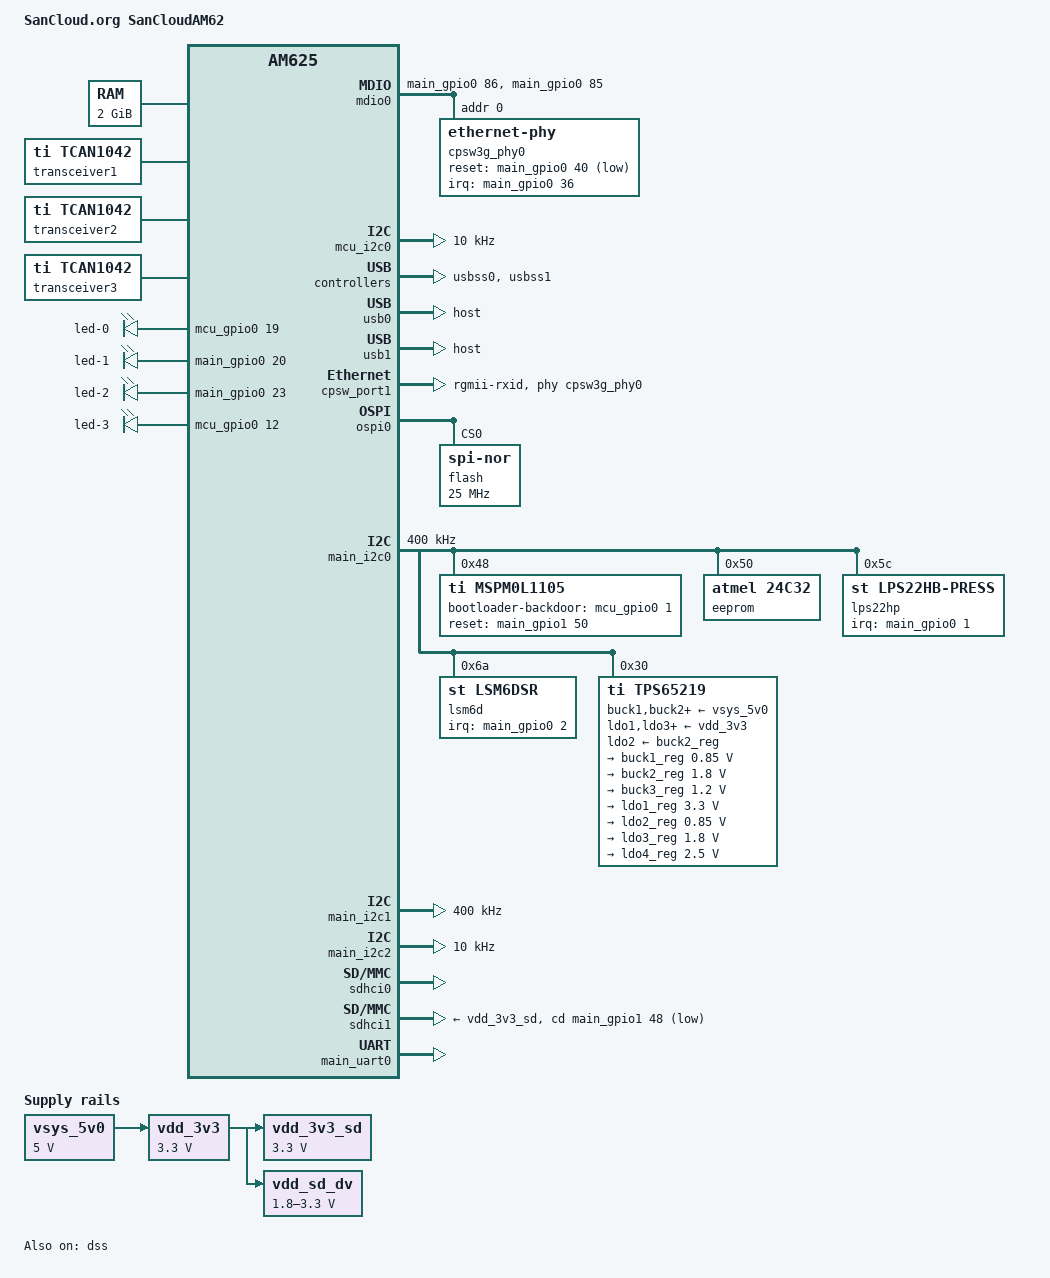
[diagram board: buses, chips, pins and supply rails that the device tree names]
// SPDX-License-Identifier: GPL-2.0
/*
 * https://beagleplay.org/
 *
 * Copyright (C) 2022-2023 Texas Instruments Incorporated - https://www.ti.com/
 * Copyright (C) 2022-2023 Robert Nelson, BeagleBoard.org Foundation
 */

/dts-v1/;

#include <dt-bindings/leds/common.h>
#include <dt-bindings/gpio/gpio.h>
#include <dt-bindings/input/input.h>
#include "k3-am625.dtsi"


/ {
	compatible = "sancloud,am625-sancloud", "ti,am625";
	model = "SanCloud.org SanCloudAM62";

	aliases {
		ethernet0 = &cpsw_port1;
		gpio0 = &main_gpio0;
		gpio1 = &main_gpio1;
		gpio2 = &mcu_gpio0;
		i2c0 = &main_i2c0;
		i2c1 = &main_i2c1;
		i2c2 = &main_i2c2;
		i2c3 = &main_i2c3;
		// i2c4 = &wkup_i2c0;
		// i2c5 = &mcu_i2c0;
		mdio-gpio0 = &mdio0;
		mmc0 = &sdhci0;
		mmc1 = &sdhci1;
		mmc2 = &sdhci2;
		rtc1 = &wkup_rtc0;
		serial0 = &wkup_uart0;
		serial1 = &mcu_uart0;
		serial2 = &main_uart0;
		serial3 = &main_uart5;
		serial4 = &main_uart6;
		//spi0 = &spi_gpio;
		//spi1 = &main_spi0;
		//spi2 = &main_spi2;
		usb0 = &usb0;
		usb1 = &usb1;
	};

	chosen {
		stdout-path = "serial2:115200n8";
		base_dtb = "k3-am625-sancloud.dts";
		base_dtb_timestamp = __TIMESTAMP__;
	};

	memory@80000000 {
		bootph-pre-ram;
		device_type = "memory";
		/* 2G RAM */
		reg = <0x00000000 0x80000000 0x00000000 0x80000000>;
	};

	reserved-memory {
		#address-cells = <2>;
		#size-cells = <2>;
		ranges;

		rtos_ipc_memory_region: ipc-memories@9c800000 {
			compatible = "shared-dma-pool";
			reg = <0x00 0x9c800000 0x00 0x00300000>;
			no-map;
		};

		mcu_m4fss_dma_memory_region: m4f-dma-memory@9cb00000 {
			compatible = "shared-dma-pool";
			reg = <0x00 0x9cb00000 0x00 0x100000>;
			no-map;
		};

		mcu_m4fss_memory_region: m4f-memory@9cc00000 {
			compatible = "shared-dma-pool";
			reg = <0x00 0x9cc00000 0x00 0xe00000>;
			no-map;
		};

		wkup_r5fss0_core0_dma_memory_region: r5f-dma-memory@9da00000 {
			compatible = "shared-dma-pool";
			reg = <0x00 0x9da00000 0x00 0x00100000>;
			no-map;
		};

		wkup_r5fss0_core0_memory_region: r5f-memory@9db00000 {
			compatible = "shared-dma-pool";
			reg = <0x00 0x9db00000 0x00 0x00c00000>;
			no-map;
		};

		lpm_ctx_ddr: lpm-memory@9e700000 {
			reg = <0x00 0x9e700000 0x00 0x80000>;
			alignment = <0x1000>;
		};

		secure_tfa_ddr: tfa@9e780000 {
			reg = <0x00 0x9e780000 0x00 0x80000>;
			alignment = <0x1000>;
			no-map;
		};

		secure_ddr: optee@9e800000 {
			reg = <0x00 0x9e800000 0x00 0x01800000>; /* for OP-TEE */
			alignment = <0x1000>;
			no-map;
		};
	};

	vsys_5v0: regulator-1 {
		bootph-all;
		compatible = "regulator-fixed";
		regulator-name = "vsys_5v0";
		regulator-min-microvolt = <5000000>;
		regulator-max-microvolt = <5000000>;
		regulator-always-on;
		regulator-boot-on;
	};

	vdd_3v3: regulator-2 {
		/* output of TLV62595DMQR-U12 */
		bootph-all;
		compatible = "regulator-fixed";
		regulator-name = "vdd_3v3";
		regulator-min-microvolt = <3300000>;
		regulator-max-microvolt = <3300000>;
		vin-supply = <&vsys_5v0>;
		regulator-always-on;
		regulator-boot-on;
	};

	vdd_3v3_sd: regulator-4 {
		bootph-all;
		compatible = "regulator-fixed";
		regulator-name = "vdd_3v3_sd";
		regulator-min-microvolt = <3300000>;
		regulator-max-microvolt = <3300000>;
		regulator-always-on;
		vin-supply = <&vdd_3v3>;
	};

	vdd_sd_dv: regulator-5 {
		bootph-all;
		compatible = "regulator-gpio";
		regulator-name = "sd_hs200_switch";
		pinctrl-names = "default";
		pinctrl-0 = <&vdd_sd_dv_pins_default>;
		regulator-min-microvolt = <1800000>;
		regulator-max-microvolt = <3300000>;
		regulator-boot-on;
		vin-supply = <&vdd_3v3>;
		gpios = <&main_gpio1 49 GPIO_ACTIVE_HIGH>;
		states = <1800000 0x0>,
			 <3300000 0x1>;
	};

	mdio0: bitbang-mdio {
		compatible = "virtual,mdio-gpio";
		pinctrl-names = "default";
		pinctrl-0 = <&mdio0_pins_default>;
		gpios = <&main_gpio0 86 GPIO_ACTIVE_HIGH>, /* MDC */
			<&main_gpio0 85 GPIO_ACTIVE_HIGH>; /* MDIO */
		#address-cells = <1>;
		#size-cells = <0>;

        cpsw3g_phy0: ethernet-phy@0 {
            reg = <0>;
			interrupt-parent = <&main_gpio0>;
			interrupts = <36 IRQ_TYPE_EDGE_FALLING>;
			reset-assert-us = <10000>;
			reset-deassert-us = <50000>;
			reset-gpios = <&main_gpio0 40 GPIO_ACTIVE_LOW>;
        };
	};

	transceiver1: can-phy0 {
		compatible = "ti,tcan1042";
		#phy-cells = <0>;
		max-bitrate = <5000000>;
	};

	transceiver2: can-phy1 {
		compatible = "ti,tcan1042";
		#phy-cells = <0>;
		max-bitrate = <5000000>;
	};

	transceiver3: can-phy2 {
		compatible = "ti,tcan1042";
		#phy-cells = <0>;
		max-bitrate = <5000000>;
	};

	leds {
		compatible = "gpio-leds";

		led-0 {
			bootph-all;
			gpios = <&mcu_gpio0 19 GPIO_ACTIVE_HIGH>;	//B9
			linux,default-trigger = "heartbeat";
			function = LED_FUNCTION_HEARTBEAT;
			default-state = "off";
		};

		led-1 {
			bootph-all;
			gpios = <&main_gpio0 20 GPIO_ACTIVE_HIGH>;	//A9
			linux,default-trigger = "disk-activity";
			function = LED_FUNCTION_DISK_ACTIVITY;
			default-state = "keep";
		};

		led-2 {
			bootph-all;
			gpios = <&main_gpio0 23 GPIO_ACTIVE_HIGH>;	//A12
			function = LED_FUNCTION_CPU;
		};

		led-3 {
			bootph-all;
			gpios = <&mcu_gpio0 12 GPIO_ACTIVE_HIGH>;	//A4
			function = LED_FUNCTION_LAN;
		};
	};
};

/*
 * CPU configuration 
 * Disable core2 and core3 for dual core devices
 * Disable Real Time Interrupt for core2 and core3 also
 */

&cluster0 {
	/delete-node/ core2;
	/delete-node/ core3;
};


&main_rti2 {
	status = "disabled";
};


&main_rti3 {
	status = "disabled";
};

/*
 * 
 */

&main_pmx0 {
	dss0_pins_default: dss0-pins-default {
		pinctrl-single,pins = <
			AM62X_IOPAD(0x0100, PIN_OUTPUT, 0) /* (AC25) VOUT0_VSYNC */
			AM62X_IOPAD(0x00f8, PIN_OUTPUT, 0) /* (AB24) VOUT0_HSYNC */
			AM62X_IOPAD(0x0104, PIN_OUTPUT, 0) /* (AC24) VOUT0_PCLK */
			AM62X_IOPAD(0x00fc, PIN_OUTPUT, 0) /* (Y20) VOUT0_DE */
			/* BLUE */
			AM62X_IOPAD(0x00b8, PIN_OUTPUT, 0) /* (U22) VOUT0_DATA0 */
			AM62X_IOPAD(0x00bc, PIN_OUTPUT, 0) /* (V24) VOUT0_DATA1 */
			AM62X_IOPAD(0x00c0, PIN_OUTPUT, 0) /* (W25) VOUT0_DATA2 */
			AM62X_IOPAD(0x00c4, PIN_OUTPUT, 0) /* (W24) VOUT0_DATA3 */
			AM62X_IOPAD(0x00c8, PIN_OUTPUT, 0) /* (Y25) VOUT0_DATA4 */
			AM62X_IOPAD(0x00cc, PIN_OUTPUT, 0) /* (Y24) VOUT0_DATA5 */
			AM62X_IOPAD(0x00d0, PIN_OUTPUT, 0) /* (Y23) VOUT0_DATA6 */
			AM62X_IOPAD(0x00d4, PIN_OUTPUT, 0) /* (AA25) VOUT0_DATA7 */
			/* GREEN */
			AM62X_IOPAD(0x00d8, PIN_OUTPUT, 0) /* (V21) VOUT0_DATA8 */
			AM62X_IOPAD(0x00dc, PIN_OUTPUT, 0) /* (W21) VOUT0_DATA9 */
			AM62X_IOPAD(0x00e0, PIN_OUTPUT, 0) /* (V20) VOUT0_DATA10 */
			AM62X_IOPAD(0x00e4, PIN_OUTPUT, 0) /* (AA23) VOUT0_DATA11 */
			AM62X_IOPAD(0x00e8, PIN_OUTPUT, 0) /* (AB25) VOUT0_DATA12 */
			AM62X_IOPAD(0x00ec, PIN_OUTPUT, 0) /* (AA24) VOUT0_DATA13 */
			AM62X_IOPAD(0x00f0, PIN_OUTPUT, 0) /* (Y22) VOUT0_DATA14 */
			AM62X_IOPAD(0x00f4, PIN_OUTPUT, 0) /* (AA21) VOUT0_DATA15 */
			/*RED*/
			AM62X_IOPAD(0x005c, PIN_OUTPUT, 1) /* (R24) GPMC0_AD8.VOUT0_DATA16 */
			AM62X_IOPAD(0x0060, PIN_OUTPUT, 1) /* (R25) GPMC0_AD9.VOUT0_DATA17 */
			AM62X_IOPAD(0x0064, PIN_OUTPUT, 1) /* (T25) GPMC0_AD10.VOUT0_DATA18 */
			AM62X_IOPAD(0x0068, PIN_OUTPUT, 1) /* (R21) GPMC0_AD11.VOUT0_DATA19 */
			AM62X_IOPAD(0x006c, PIN_OUTPUT, 1) /* (T22) GPMC0_AD12.VOUT0_DATA20 */
			AM62X_IOPAD(0x0070, PIN_OUTPUT, 1) /* (T24) GPMC0_AD13.VOUT0_DATA21 */
			AM62X_IOPAD(0x0074, PIN_OUTPUT, 1) /* (U25) GPMC0_AD14.VOUT0_DATA22 */
			AM62X_IOPAD(0x0078, PIN_OUTPUT, 1) /* (U24) GPMC0_AD15.VOUT0_DATA23 */
		>;
	};

	gpio0_pins_default: gpio0-pins-default {
		pinctrl-single,pins = <
			AM62X_IOPAD(0x0030, PIN_OUTPUT_PULLUP, 7) /* (G21) OSPI0_CSn1.GPIO0_12 */ /* NOR_PWR_EN */		
			AM62X_IOPAD(0x0004, PIN_INPUT, 7) /* (G25) OSPI0_LBCLKO.GPIO0_1 */	/* BAR_IRQ */		
			AM62X_IOPAD(0x0008, PIN_INPUT, 7) /* (J24) OSPI0_DQS.GPIO0_2 */	/* GYRO_IRQ */		

			AM62X_IOPAD(0x007c, PIN_OUTPUT_PULLDOWN, 7) /* (P25) GPMC0_CLK.GPIO0_31 */ /* SWITCH_CTRL */
		>;
	};

	gpio1_pins_default: gpio1-pins-default {
		pinctrl-single,pins = <
			/*Needed for boot... debug required MNM*/
			// AM62X_IOPAD(0x1a0, PIN_OUTPUT_PULLDOWN, 7)	/* (E18) MCASP0_AXR0.GPIO1_10*/  
			AM62X_IOPAD(0x0180, PIN_OUTPUT_PULLDOWN, 7)	/* (AD23) RGMII2_RXC.GPIO1_2*/  
			AM62X_IOPAD(0x01c4, PIN_OUTPUT_PULLDOWN, 7)	/* (B14) SPI0_D1.GPIO1_19*/  
		>;
	};

	vdd_sd_dv_pins_default: vdd-sd-pins-default {
		pinctrl-single,pins = <
			AM62X_IOPAD(0x0244, PIN_OUTPUT, 7) /* (C17) MMC1_SDWP.GPIO1_49 */
		>;
	};

	local_i2c0_pins_default: local-i2c0-pins-default {
		pinctrl-single,pins = <
			AM62X_IOPAD(0x01e0, PIN_INPUT_PULLUP, 0) /* (B16) I2C0_SCL */
			AM62X_IOPAD(0x01e4, PIN_INPUT_PULLUP, 0) /* (A16) I2C0_SDA */
		>;
	};

	local_i2c1_pins_default: local-i2c1-pins-default {
		pinctrl-single,pins = <
			AM62X_IOPAD(0x01e8, PIN_INPUT, 0) /* (B17) I2C1_SCL */
			AM62X_IOPAD(0x01ec, PIN_INPUT, 0) /* (A17) I2C1_SDA */
		>;
	};

	local_i2c2_pins_default: local-i2c2-pins-default {
		pinctrl-single,pins = <
			AM62X_IOPAD(0x00b0, PIN_INPUT_PULLUP, 1) /* (K22) GPMC0_CSn2.I2C2_SCL */
			AM62X_IOPAD(0x00b4, PIN_INPUT_PULLUP, 1) /* (K24) GPMC0_CSn3.I2C2_SDA */
		>;
	};

	mdio0_pins_default: mdio0-pins-default {
		pinctrl-single,pins = <
			AM62X_IOPAD(0x0160, PIN_OUTPUT, 7) /* (AD24) MDIO0_MDC.GPIO0_86 */
			AM62X_IOPAD(0x015c, PIN_INPUT, 7) /* (AB22) MDIO0_MDIO.GPIO0_85 */
		>;
	};

	rgmii1_pins_default: rgmii1-pins-default {
		pinctrl-single,pins = <
			AM62X_IOPAD(0x014c, PIN_INPUT, 0) /* (AB17) RGMII1_RD0 */
			AM62X_IOPAD(0x0150, PIN_INPUT, 0) /* (AC17) RGMII1_RD1 */
			AM62X_IOPAD(0x0154, PIN_INPUT, 0) /* (AB16) RGMII1_RD2 */
			AM62X_IOPAD(0x0158, PIN_INPUT, 0) /* (AA15) RGMII1_RD3 */
			AM62X_IOPAD(0x0148, PIN_INPUT, 0) /* (AD17) RGMII1_RXC */
			AM62X_IOPAD(0x0144, PIN_INPUT, 0) /* (AE17) RGMII1_RX_CTL */
			AM62X_IOPAD(0x0134, PIN_OUTPUT, 0) /* (AE20) RGMII1_TD0 */
			AM62X_IOPAD(0x0138, PIN_OUTPUT, 0) /* (AD20) RGMII1_TD1 */
			AM62X_IOPAD(0x013c, PIN_OUTPUT, 0) /* (AE18) RGMII1_TD2 */
			AM62X_IOPAD(0x0140, PIN_OUTPUT, 0) /* (AD18) RGMII1_TD3 */
			AM62X_IOPAD(0x0130, PIN_OUTPUT, 0) /* (AE19) RGMII1_TXC */
			AM62X_IOPAD(0x012c, PIN_OUTPUT, 0) /* (AD19) RGMII1_TX_CTL */
			AM62X_IOPAD(0x0094, PIN_INPUT, 7) /* (N20) GPMC0_DIR.GPIO0_36 */
			AM62X_IOPAD(0x00a4, PIN_OUTPUT, 7) /* (M22) GPMC0_DIR.GPIO0_40 */

		>;
	};

	ospi0_pins_default: ospi0-pins-default {
		pinctrl-single,pins = <
			AM62X_IOPAD(0x0000, PIN_OUTPUT, 0) /* (H24) OSPI0_CLK */
			AM62X_IOPAD(0x002c, PIN_OUTPUT, 0) /* (F23) OSPI0_CSn0 */
			AM62X_IOPAD(0x000c, PIN_INPUT, 0) /* (E25) OSPI0_D0 */
			AM62X_IOPAD(0x0010, PIN_INPUT, 0) /* (G24) OSPI0_D1 */
			AM62X_IOPAD(0x0014, PIN_INPUT, 0) /* (F25) OSPI0_D2 */
			AM62X_IOPAD(0x0018, PIN_INPUT, 0) /* (F24) OSPI0_D3 */
			
			// AM62X_IOPAD(0x01c, PIN_INPUT, 0) /* (J23) OSPI0_D4 */
			// AM62X_IOPAD(0x020, PIN_INPUT, 0) /* (J25) OSPI0_D5 */
			// AM62X_IOPAD(0x024, PIN_INPUT, 0) /* (H25) OSPI0_D6 */
			// AM62X_IOPAD(0x028, PIN_INPUT, 0) /* (J22) OSPI0_D7 */
		>;
	};


	spi_gpio_default_pins: spi-gpio-pins {
		pinctrl-single,pins = <
			AM62X_IOPAD(0x000, PIN_OUTPUT, 7) /* (H24) OSPI0_CLK */
			AM62X_IOPAD(0x02c, PIN_OUTPUT, 7) /* (F23) OSPI0_CSn0 */
			AM62X_IOPAD(0x00c, PIN_OUTPUT, 7) /* (E25) OSPI0_D0 MOSI*/
			AM62X_IOPAD(0x010, PIN_INPUT, 7) /* (G24) OSPI0_D1 MISO*/
		>;
	};

	emmc_pins_default: emmc-pins-default {
		pinctrl-single,pins = <
			AM62X_IOPAD(0x0220, PIN_INPUT, 0) /* (Y3) MMC0_CMD */
			AM62X_IOPAD(0x0218, PIN_INPUT, 0) /* (AB1) MMC0_CLK */
			AM62X_IOPAD(0x0214, PIN_INPUT, 0) /* (AA2) MMC0_DAT0 */
			AM62X_IOPAD(0x0210, PIN_INPUT, 0) /* (AA1) MMC0_DAT1 */
			AM62X_IOPAD(0x020c, PIN_INPUT, 0) /* (AA3) MMC0_DAT2 */
			AM62X_IOPAD(0x0208, PIN_INPUT, 0) /* (Y4) MMC0_DAT3 */
			AM62X_IOPAD(0x0204, PIN_INPUT, 0) /* (AB2) MMC0_DAT4 */
			AM62X_IOPAD(0x0200, PIN_INPUT, 0) /* (AC1) MMC0_DAT5 */
			AM62X_IOPAD(0x01fc, PIN_INPUT, 0) /* (AD2) MMC0_DAT6 */
			AM62X_IOPAD(0x01f8, PIN_INPUT, 0) /* (AC2) MMC0_DAT7 */
		>;
	};

	// vdd_3v3_sd_pins_default: vdd-3v3-sd-pins-default {
	// 	pinctrl-single,pins = <
	// 		AM62X_IOPAD(0x01c4, PIN_INPUT, 7) /* (B14) SPI0_D1_GPIO1_19 */
	// 	>;
	// };

	sd_pins_default: sd-pins-default {
		pinctrl-single,pins = <
			AM62X_IOPAD(0x023c, PIN_INPUT, 0) /* (A21) MMC1_CMD */
			AM62X_IOPAD(0x0234, PIN_INPUT, 0) /* (B22) MMC1_CLK */
			AM62X_IOPAD(0x0230, PIN_INPUT, 0) /* (A22) MMC1_DAT0 */
			AM62X_IOPAD(0x022c, PIN_INPUT, 0) /* (B21) MMC1_DAT1 */
			AM62X_IOPAD(0x0228, PIN_INPUT, 0) /* (C21) MMC1_DAT2 */
			AM62X_IOPAD(0x0224, PIN_INPUT, 0) /* (D22) MMC1_DAT3 */
			AM62X_IOPAD(0x0240, PIN_INPUT, 7) /* (D17) MMC1_SDCD.GPIO1_48 */
		>;
	};

	lcd_pwm_backlight_pins_default: lcd-pwm-backlight-pins-default {
		pinctrl-single,pins = <
			AM62X_IOPAD(0x01b4, PIN_OUTPUT, 2) /* (A13) EHRPWM0_A */
			AM62X_IOPAD(0x01b8, PIN_OUTPUT, 2) /* (C13) EHRPWM0_B */
		>;
	};

	console_pins_default: console-pins-default {
		pinctrl-single,pins = <
			AM62X_IOPAD(0x01c8, PIN_INPUT, 0) /* (D14) UART0_RXD */
			AM62X_IOPAD(0x01cc, PIN_OUTPUT, 0) /* (E14) UART0_TXD */
		>;
	};

	usb0_pins_default: usb0-pins-default {
		pinctrl-single,pins = <
			//AM62X_IOPAD(0x0254, PIN_INPUT, 0) /* (C20) USB0_DRVVBUS */
		>;
	};

	usb1_pins_default: usb1-pins-default {
		pinctrl-single,pins = <
			AM62X_IOPAD(0x0258, PIN_INPUT, 0) /* (F18) USB1_DRVVBUS */
		>;
	};

	pmic_irq_pins_default: pmic-irq-pins-default {
		pinctrl-single,pins = <
			AM62X_IOPAD(0x01f4, PIN_INPUT_PULLUP, 0) /* (D16) EXTINTn */
		>;
	};

	main_mcan0_pins_default: main-mcan0-pins-default {
		pinctrl-single,pins = <
			AM62X_IOPAD(0x1dc, PIN_INPUT, 0) /* (E15) MCAN0_RX */
			AM62X_IOPAD(0x1d8, PIN_OUTPUT, 0) /* (C15) MCAN0_TX */
		>;
	};

	main_spi0_pins_default: main-spi0-pins-default {
		pinctrl-single,pins = <
			// AM62X_IOPAD(0x01bc, PIN_INPUT_PULLUP, 0) /* (A14) SPI0_CLK */
			// AM62X_IOPAD(0x01c0, PIN_INPUT_PULLUP, 0) /* (B13) SPI0_D0 */
			// AM62X_IOPAD(0x01c4, PIN_INPUT_PULLUP, 0) /* (B14) SPI0_D1 */
			// AM62X_IOPAD(0x01b4, PIN_INPUT_PULLUP, 0) /* (A13) SPI0_CS0 */
		>;
	};

	main_spi1_pins_default: main-spi1-pins-default {
		pinctrl-single,pins = <
			AM62X_IOPAD(0x001c, PIN_INPUT_PULLUP, 1) /* (J23) SPI1_CS0 */
			AM62X_IOPAD(0x0020, PIN_INPUT_PULLUP, 1) /* (J25) SPI1_CLK */
			AM62X_IOPAD(0x0024, PIN_INPUT_PULLUP, 1) /* (H25) SPI1_D0 */
			AM62X_IOPAD(0x0028, PIN_INPUT_PULLUP, 1) /* (J22) SPI1_D1 */ 
		>;
	};

	main_spi2_pins_default: main-spi2-pins-default {
		pinctrl-single,pins = <
			AM62X_IOPAD(0x01b0, PIN_INPUT_PULLUP, 0) /* (A20) SPI2_CLK */
			AM62X_IOPAD(0x0194, PIN_INPUT_PULLUP, 0) /* (B19) SPI2_D0 */
			AM62X_IOPAD(0x0198, PIN_INPUT_PULLUP, 0) /* (A19) SPI2_D1 */
			AM62X_IOPAD(0x01ac, PIN_INPUT_PULLUP, 0) /* (E19) SPI2_CS0 */
		>;
	};

	mspm0_nrst_pins_default: mspm0-nrst-default-pins {
		pinctrl-single,pins = <
			AM62X_IOPAD(0x0254, PIN_INPUT, 7) /* (C20) USB0_DRVVBUS.GPIO1_50 */
		>;
	};	
};

&mcu_pmx0 {
	mspm0_bsl_pins_default: mspm0-bsl-default-pins {
		pinctrl-single,pins = <
			AM62X_MCU_IOPAD(0x0048, PIN_INPUT, 7) /* (D10) MCU_I2C0_SDA.MCU_GPIO0_18 */
		>;
	};

	mcu_gpio0_pins_default: mcu-gpio0-pins-default {
		pinctrl-single,pins = <
			AM62X_MCU_IOPAD(0x004c, PIN_INPUT, 7) /* (B9) WKUP_I2C0_SCL.MCU_GPIO0_19 */
			AM62X_MCU_IOPAD(0x0050, PIN_INPUT, 7) /* (A9) WKUP_I2C0_SDA.MCU_GPIO0_20 */
			AM62X_MCU_IOPAD(0x004c, PIN_INPUT, 7) /* (A12) WKUP_CLKOUT0.MCU_GPIO0_23 */
                        AM62X_MCU_IOPAD(0x0030, PIN_INPUT, 7) /* (A4) WKUP_UART0_RTSn.MCU_GPIO0_12 */
		>;
	};

	i2c_qwiic_pins_default: i2c-qwiic-pins-default {
		pinctrl-single,pins = <
			AM62X_MCU_IOPAD(0x0044, PIN_INPUT, 0) /* (A8) MCU_I2C0_SCL */
			AM62X_MCU_IOPAD(0x0048, PIN_INPUT, 0) /* (D10) MCU_I2C0_SDA */
		>;
	};

	adc_spi_pins_default: adc-spi-pins-default {
		pinctrl-single,pins = <
			AM62X_MCU_IOPAD(0x001c, PIN_INPUT, 3) /* (A6) MCU_UART0_CTSn.MCU_SPI1_D0 */
			AM62X_MCU_IOPAD(0x0020, PIN_INPUT, 3) /* (B6) MCU_UART0_RTSn.MCU_SPI1_D1 */
		>;
	};

	gbe_pmx_obsclk: gbe-pmx-clk-default {
		pinctrl-single,pins = <
			/* 25MHz on MCU_OBSCLK0 -unmodified board has strap option to be changed to enable this */
			AM62X_MCU_IOPAD(0x0004, PIN_OUTPUT, 1) /* (B8) MCU_SPI0_CS1.MCU_OBSCLK0 */
		>;
	};

	i2c_csi_pins_default: i2c-csi-pins-default {
		pinctrl-single,pins = <
		>;
	};

	mcu_mcan0_pins_default: mcu-mcan0-pins-default {
		pinctrl-single,pins = <
			AM62X_MCU_IOPAD(0x038, PIN_INPUT, 0) /* (B3) MCU_MCAN0_RX */
			AM62X_MCU_IOPAD(0x034, PIN_OUTPUT, 0) /* (D6) MCU_MCAN0_TX */
		>;
	};

	mcu_mcan1_pins_default: mcu-mcan1-pins-default {
		pinctrl-single,pins = <
			AM62X_MCU_IOPAD(0x040, PIN_INPUT, 0) /* (D4) MCU_MCAN1_RX */
			AM62X_MCU_IOPAD(0x03C, PIN_OUTPUT, 0) /* (E5) MCU_MCAN1_TX */
		>;
	};
};

&a53_opp_table {
	/* Requires VDD_CORE to be at 0.85V */
	opp-1400000000 {
		opp-hz = /bits/ 64 <1400000000>;
		opp-supported-hw = <0x01 0x0004>;
	};
};

/* cbass_main */
/* cbass_wkup */

&wkup_i2c0 {
	pinctrl-names = "default";
	pinctrl-0 = <&i2c_csi_pins_default>;
	/* Bump Up to 400KHz if module allows - 100KHz default */
	clock-frequency = <10000>;
	/* Enable with overlay for camera sensor */
	symlink = "play/csi/i2c";
	status = "disabled";
};

&mcu_i2c0 {
	pinctrl-names = "default";
	pinctrl-0 = <&i2c_qwiic_pins_default>;
	/* Bump Up to 400 if desired */
	clock-frequency = <10000>;
	symlink = "play/qwiic/i2c";
};

&mcu_spi0 {
	status = "disabled";
};

&mcu_spi1 {
	status = "disabled";
};

&mcu_rti0 {
      /* Tightly coupled to M4F */
      status = "disabled";
};

&mcu_m4fss {
	mboxes = <&mailbox0_cluster0 &mbox_m4_0>;
	memory-region = <&mcu_m4fss_dma_memory_region>,
			<&mcu_m4fss_memory_region>;
};

// &fss {
// 	status = "disabled";
// };

// &crypto {
// 	status = "disabled";
// };

&mailbox0_cluster0 {
	mbox_m4_0: mbox-m4-0 {
		ti,mbox-rx = <0 0 0>;
		ti,mbox-tx = <1 0 0>;
	};
};

&usbss0 {
	ti,vbus-divider;
	status = "okay";
};

&usb0 {
	dr_mode = "host";
	pinctrl-names = "default";
	pinctrl-0 = <&usb0_pins_default>;
};

&usbss1 {
	ti,vbus-divider;
	status = "okay";
};

&usb1 {
	dr_mode = "host";
	pinctrl-names = "default";
	pinctrl-0 = <&usb1_pins_default>;
};

&cpsw3g {
	pinctrl-names = "default";
	pinctrl-0 = <&rgmii1_pins_default>;
	assigned-clocks = <&k3_clks 157 70>, <&k3_clks 157 20>;
	assigned-clock-parents = <&k3_clks 157 72>, <&k3_clks 157 22>;
};

&cpsw_port1 {
	phy-mode = "rgmii-rxid";
	phy-handle = <&cpsw3g_phy0>;
};

&cpsw_port2 {
	status = "disabled";
};

&cpsw3g_mdio {
	/* Workaround for errata i2329 - Use mdio bitbang */
	status = "disabled";
};

&ospi0 {
    compatible = "ti,am654-ospi", "cdns,qspi-nor";
    pinctrl-0 = <&ospi0_pins_default>;
    reg = <0x00 0x0fc40000 0x00 0x100>,
          <0x05 0x00000000 0x01 0x2000000>;
    interrupts = <GIC_SPI 139 IRQ_TYPE_LEVEL_HIGH>;
    cdns,fifo-depth = <256>;
    cdns,fifo-width = <4>;
    cdns,trigger-address = <0x0>;
    clocks = <&k3_clks 75 7>;
    assigned-clocks = <&k3_clks 75 7>;
    assigned-clock-parents = <&k3_clks 75 8>;
    assigned-clock-rates = <166666666>;
    power-domains = <&k3_pds 75 TI_SCI_PD_EXCLUSIVE>;
    #address-cells = <1>;
    #size-cells = <0>;
    pinctrl-names = "default", "sleep";
    status = "okay";
	// spidev@0 {
	// 	reg = <0>;
	// 	compatible = "spidev";
	// 	spi-tx-bus-width = <1>;
	// 	spi-rx-bus-width = <1>;
	// 	cdns,tshsl-ns = <60>;
	// 	cdns,tsd2d-ns = <60>;
	// 	cdns,tchsh-ns = <60>;
	// 	cdns,tslch-ns = <60>;
	// 	cdns,read-delay = <4>;
	// 	cdns,phy-mode;
		
	// 	// create symlink (using /etc/udev/rules.d/10-of-symlink.rules)
	// 	// NOTE: again, consider using something more descriptive
	// 	symlink = "spi/0.0";  // create /dev/spi/0.0 symlink

	// 	// XXX replace by actual max frequency supported by device
	// 	spi-max-frequency = <2000000>;

	// 	// XXX this selects SPI mode 3 by default, adjust as appropriate
	// 	// spi-cpol;
	// 	// spi-cpha;
	// };

	flash@0 {
        compatible = "jedec,spi-nor";
        reg = <0x0>;
        page-size =<255>;
        spi-max-frequency = <25000000>;
        spi-rx-bus-width = <1>;
        spi-tx-bus-width = <1>;
        spi-3wire;
        cdns,tshsl-ns = <60>;
        cdns,tsd2d-ns = <60>;
        cdns,tchsh-ns = <60>;
        cdns,tslch-ns = <60>;

	// 	// partitions {
	// 	// 	compatible = "fixed-partitions";
	// 	// 	#address-cells = <1>;
	// 	// 	#size-cells = <1>;

	// 	// 	partition@0 {
	// 	// 		label = "ospi.tiboot3";
	// 	// 		reg = <0x0 0x80000>;
	// 	// 	};

	// 	// 	partition@80000 {
	// 	// 		label = "ospi.tispl";
	// 	// 		reg = <0x80000 0x200000>;
	// 	// 	};

	// 	// 	partition@280000 {
	// 	// 		label = "ospi.u-boot";
	// 	// 		reg = <0x280000 0x400000>;
	// 	// 	};

	// 	// 	partition@680000 {
	// 	// 		label = "ospi.env";
	// 	// 		reg = <0x680000 0x40000>;
	// 	// 	};

	// 	// 	partition@6c0000 {
	// 	// 		label = "ospi.env.backup";
	// 	// 		reg = <0x6c0000 0x40000>;
	// 	// 	};
	// 	// };
	};	
};

&main_gpio0 {
	pinctrl-names = "default";
	pinctrl-0 = <&gpio0_pins_default>;
	gpio-line-names = "BAR_IRQ", "GYRO_IRQ", "", "", "", "", "", "",	/* 0-7 */
		"", "", "", "", "NOR_PWR_EN", "", "",			/* 8-14 */
		"", "", "", "", "", "", "",		/* 15-21 */
		"", "",	/* 22-23 */
		"", "",	/* 24-25 */
		"", "", "", "", "", "SW_CTL", "", "", "", "", "", "",	/* 26-37 */
		"", "", "", "", "", "", "", "", "", "",		/* 38-47 */
		"", "", "", "";			/* 48-51 */
};

&main_gpio1 {
	pinctrl-names = "default";
	pinctrl-0 = <&gpio1_pins_default>;
	gpio-line-names = "", "", "", "", "", "", "", "",	/* 0-7 */
		"", "", "", "", "", "", "",			/* 8-14 */
		"", "", "", "", "", "", "",		/* 15-21 */
		"", "",	/* 22-23 */
		"", "",	/* 24-25 */
		"", "", "", "", "", "", "", "", "", "", "", "",	/* 26-37 */
		"", "", "", "", "", "", "", "", "", "",		/* 38-47 */
		"", "", "", "";			/* 48-51 */
};

&mcu_gpio0 {
	pinctrl-names = "default";
	pinctrl-0 = <&mcu_gpio0_pins_default>;	
	gpio-line-names = "", "", "", "",			/* 0-3 */
		"", "", "", "",					/* 4-7 */
		"", "", "", "",					/* 8-11 */
		"USR3", "", "", "",					/* 12-15 */
		"", "", "", "USR0",	/* 16-19 */
		"USR1", "", "", "USR2";					/* 20-23 */
};

&main_i2c0 {
	bootph-all;
	pinctrl-names = "default";
	pinctrl-0 = <&local_i2c0_pins_default>;
	clock-frequency = <400000>;
	status = "okay";

	mspm0l1105: mspm0l1105@48 {
		compatible = "ti,mspm0l1105";
		reg = <0x48>;
		bootloader-backdoor-gpios = <&mcu_gpio0 1 GPIO_ACTIVE_HIGH>;
		reset-gpios = <&main_gpio1 50 GPIO_ACTIVE_HIGH>;
		pinctrl-names = "default";
		pinctrl-0 = <&mspm0_bsl_pins_default &mspm0_nrst_pins_default>;
	};

	eeprom@50 {
		compatible = "atmel,24c32";
		reg = <0x50>;
	};

	lps22hp: barometer@5c {
		compatible = "st,lps22hb-press";
		reg = <0x5c>;
		interrupt-parent = <&main_gpio0>;
		interrupts = <1 IRQ_TYPE_EDGE_RISING>;        
	};

	lsm6d: lsm6dsm@6a {
		compatible = "st,lsm6dsr";
		reg = <0x6a>;
		interrupt-parent = <&main_gpio0>;
		interrupts = <2 IRQ_TYPE_EDGE_RISING>;
	};

	tps65219: pmic@30 {
		bootph-all;
		compatible = "ti,tps65219";
		reg = <0x30>;
		buck1-supply = <&vsys_5v0>;
		buck2-supply = <&vsys_5v0>;
		buck3-supply = <&vsys_5v0>;
		ldo1-supply = <&vdd_3v3>;
		ldo2-supply = <&buck2_reg>;
		ldo3-supply = <&vdd_3v3>;
		ldo4-supply = <&vdd_3v3>;

		pinctrl-names = "default";
		pinctrl-0 = <&pmic_irq_pins_default>;
		interrupt-parent = <&gic500>;
		interrupts = <GIC_SPI 224 IRQ_TYPE_LEVEL_HIGH>;
		interrupt-controller;
		#interrupt-cells = <2>;

		system-power-controller;
		wakeup-source;
		power-button;

		regulators {
			buck1_reg: buck1 {
				regulator-name = "VDD_CORE";
				regulator-min-microvolt = <850000>;
				regulator-max-microvolt = <850000>;
				regulator-boot-on;
				regulator-always-on;
			};

			buck2_reg: buck2 {
				regulator-name = "VDD_1V8";
				regulator-min-microvolt = <1800000>;
				regulator-max-microvolt = <1800000>;
				regulator-boot-on;
				regulator-always-on;
			};

			buck3_reg: buck3 {
				regulator-name = "VDD_1V2";
				regulator-min-microvolt = <1200000>;
				regulator-max-microvolt = <1200000>;
				regulator-boot-on;
				regulator-always-on;
			};

			ldo1_reg: ldo1 {
				/*
				 * Regulator is left as is unused, vdd_sd
				 * is controlled via GPIO with bypass config
				 * as per the NVM configuration
				 */
				regulator-name = "VDD_SD_3V3";
				regulator-min-microvolt = <3300000>;
				regulator-max-microvolt = <3300000>;
				regulator-allow-bypass;
				regulator-boot-on;
				regulator-always-on;
			};

			ldo2_reg: ldo2 {
				regulator-name = "VDDA_0V85";
				regulator-min-microvolt = <850000>;
				regulator-max-microvolt = <850000>;
				regulator-boot-on;
				regulator-always-on;
			};

			ldo3_reg: ldo3 {
				regulator-name = "VDDA_1V8";
				regulator-min-microvolt = <1800000>;
				regulator-max-microvolt = <1800000>;
				regulator-boot-on;
				regulator-always-on;
			};

			ldo4_reg: ldo4 {
				regulator-name = "VDD_2V5";
				regulator-min-microvolt = <2500000>;
				regulator-max-microvolt = <2500000>;
				regulator-boot-on;
				regulator-always-on;
			};
		};
	};
};

&main_i2c1 {
	pinctrl-names = "default";
	pinctrl-0 = <&local_i2c1_pins_default>;
	clock-frequency = <400000>;
	status = "okay";
};

&main_i2c2 {
	pinctrl-names = "default";
	pinctrl-0 = <&local_i2c2_pins_default>;
	clock-frequency = <10000>;
	status = "okay";
};

&mcasp0 {
	status = "disabled";
};

&mcasp1 {
	status = "disabled";
};

&mcasp2 {
	status = "disabled";
};

&dss {
	status = "okay";
	pinctrl-names = "default";
	pinctrl-0 = <&dss0_pins_default>;
};

&dss_ports {
	#address-cells = <1>;
	#size-cells = <0>;
};

&sdhci0 {
//	bootph-all;
	pinctrl-names = "default";
	pinctrl-0 = <&emmc_pins_default>;
//	ti,driver-strength-ohm = <50>;
//	disable-wp;
	status = "okay";
	// status = "disabled";
};

&sdhci1 {
	/* SD/MMC */
//	bootph-all;
	pinctrl-names = "default";
	pinctrl-0 = <&sd_pins_default>;

	vmmc-supply = <&vdd_3v3_sd>;
	vqmmc-supply = <&vdd_sd_dv>;
	ti,driver-strength-ohm = <50>;
	disable-wp;
	cd-gpios = <&main_gpio1 48 GPIO_ACTIVE_LOW>;
	cd-debounce-delay-ms = <100>;
	ti,fails-without-test-cd;
	status = "okay";
};

&sdhci2 {
	status = "disabled";
};

&epwm0{
	status = "disabled";
};

&epwm1 {
	status = "disabled";
};

&epwm2 {
	status = "disabled";
};

&main_uart0 {
	bootph-all;
	pinctrl-names = "default";
	pinctrl-0 = <&console_pins_default>;
	status = "okay";
};

&main_uart1 {
	/* Main UART1 is used by TIFS firmware */
	status = "reserved";
};

&main_uart2 {
	status = "disabled";
};

&main_uart3 {
	status = "disabled";
};

&main_uart4 {
	status = "disabled";
};

&main_uart5 {
	status = "disabled";
};

&main_uart6 {
	status = "disabled";
};

&main_spi0 {
	status = "disabled";
};

&main_spi2 {
	status = "disabled";
	// status = "okay";
	// pinctrl-names = "default";
	// pinctrl-0 = <&main_spi2_pins_default>;
	// #address-cells = <1>;
	// #size-cells= <0>;
	// ti,spi-num-cs = <1>;
	// cs-gpios = <0>;

	// 	/* add any spi devices connected here */
	// 	adc@0 {
	// 		compatible = "adi,max11320";
	// 		spi-max-frequency = <8000000>;
	// 		reg = <0>;

	// 		#address-cells = <1>;
	// 		#size-cells = <0>;

	// 		spi-cpha;
	// 		spi-cpol;

	// 		channel_group_name = "Voltage_ADC";

	// 		channel@7 {
	// 			reg = <0>;
	// 			adi,reference = <3>;
	// 			adi,input-mode = <0>;					
	// 		};

	// 		channel@6 {
	// 			reg = <1>;
	// 			adi,reference = <3>;
	// 			adi,input-mode = <0>;					
	// 		};

	// 		channel@5 {
	// 			reg = <2>;
	// 			adi,reference = <3>;
	// 			adi,input-mode = <0>;					
	// 		};

	// 		channel@4 {
	// 			reg = <3>;
	// 			adi,reference = <3>;
	// 			adi,input-mode = <0>;					
	// 		};

	// 		channel@3 {
	// 			reg = <4>;
	// 			adi,reference = <3>;
	// 			adi,input-mode = <0>;					
	// 		};

	// 		channel@2 {
	// 			reg = <5>;
	// 			adi,reference = <3>;
	// 			adi,input-mode = <0>;					
	// 		};

	// 		channel@1 {
	// 			reg = <6>;
	// 			adi,reference = <3>;
	// 			adi,input-mode = <0>;					
	// 		};

	// 		channel@0 {
	// 			reg = <7>;
	// 			adi,reference = <3>;
	// 			adi,input-mode = <0>;					
	// 		};
	// 	};

};

&dphy0 {
       status = "disabled";
};

&ti_csi2rx0 {
      status = "disabled";
};

&main_mcan0 {
      status = "disabled";
};

&mcu_mcan0 {
      status = "disabled";
};

&mcu_mcan1 {
      status = "disabled";
};
